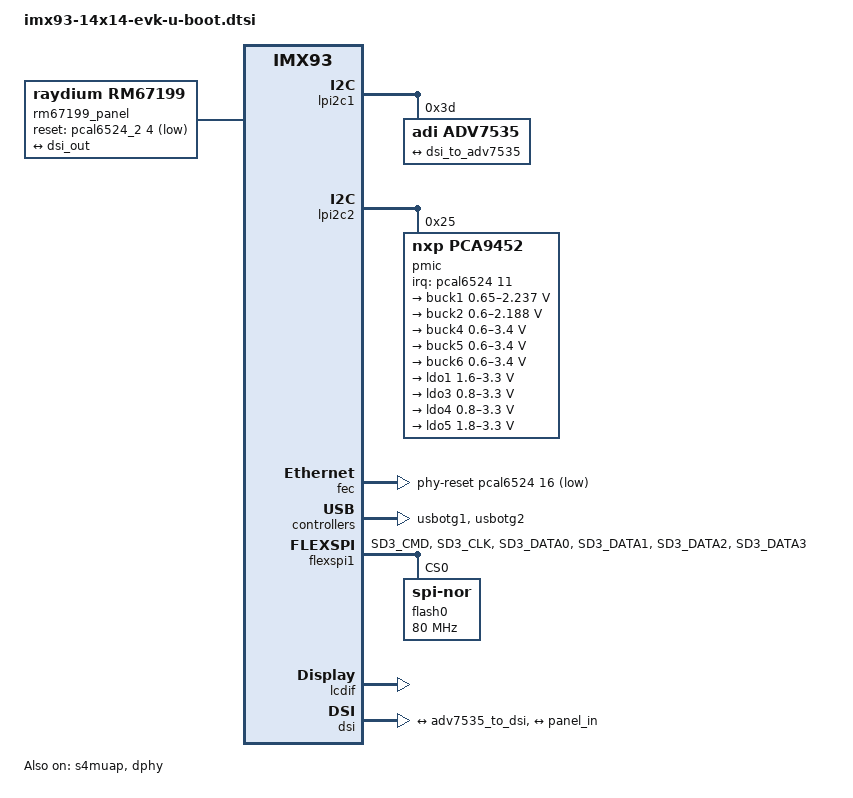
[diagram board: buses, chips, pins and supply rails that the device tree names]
// SPDX-License-Identifier: GPL-2.0+
/*
 * Copyright 2022 NXP
 */

#include "imx93-u-boot.dtsi"

/ {
	wdt-reboot {
		compatible = "wdt-reboot";
		wdt = <&wdog3>;
		bootph-pre-ram;
		bootph-some-ram;
	};

	aliases {
		usb_gadget0 = &usbg1;
	};

	chosen {
		bootargs = "console=ttyLP0,115200";
	};

	usbg1: usbg1 {
		compatible = "fsl,imx27-usb-gadget";
		dr_mode = "peripheral";
		chipidea,usb = <&usbotg1>;
		status = "okay";
	};

	firmware {
		optee {
			compatible = "linaro,optee-tz";
			method = "smc";
		};
	};

	dsi_host: dsi-host {
		compatible = "synopsys,dw-mipi-dsi";
		status = "okay";
	};

	rm67199_panel {
		compatible = "raydium,rm67199";
		reset-gpio = <&pcal6524_2 4 GPIO_ACTIVE_LOW>;
		dsi-lanes = <4>;
		video-mode = <2>;	/* 0: burst mode
					 * 1: non-burst mode with sync event
					 * 2: non-burst mode with sync pulse
					 */
		width-mm = <68>;
		height-mm = <121>;
		status = "okay";

		port {
			panel_in: endpoint {
				remote-endpoint = <&dsi_out>;
			};
		};
	};
};

&A55_0 {
	clocks = <&clk IMX93_CLK_A55_SEL>;
};

&A55_1 {
	clocks = <&clk IMX93_CLK_A55_SEL>;
};

&{/soc@0} {
	bootph-all;
	bootph-pre-ram;
};

&aips1 {
	bootph-pre-ram;
	bootph-all;
};

&aips2 {
	bootph-pre-ram;
	bootph-some-ram;
};

&aips3 {
	bootph-pre-ram;
	bootph-some-ram;
};

&iomuxc {
	bootph-pre-ram;
	bootph-some-ram;

	pinctrl_flexspi: flexspigrp {
		fsl,pins = <
			MX93_PAD_SD3_CMD__FLEXSPI1_A_SS0_B	0x3fe
			MX93_PAD_SD3_CLK__FLEXSPI1_A_SCLK	0x3fe
			MX93_PAD_SD3_DATA0__FLEXSPI1_A_DATA00	0x3fe
			MX93_PAD_SD3_DATA1__FLEXSPI1_A_DATA01	0x3fe
			MX93_PAD_SD3_DATA2__FLEXSPI1_A_DATA02	0x3fe
			MX93_PAD_SD3_DATA3__FLEXSPI1_A_DATA03	0x3fe
		>;
	};
};

&reg_usdhc2_vmmc {
	u-boot,off-on-delay-us = <20000>;
	bootph-pre-ram;
};

&pinctrl_reg_usdhc2_vmmc {
	bootph-pre-ram;
};

&pinctrl_uart1 {
	bootph-pre-ram;
	bootph-some-ram;
};

&pinctrl_usdhc1 {
	bootph-pre-ram;
};

&pinctrl_usdhc2_gpio {
	bootph-pre-ram;
};

&pinctrl_usdhc2 {
	bootph-pre-ram;
};

&gpio1 {
	bootph-pre-ram;
	bootph-some-ram;
};

&gpio2 {
	bootph-pre-ram;
	bootph-some-ram;
};

&gpio3 {
	bootph-pre-ram;
	bootph-some-ram;
};

&gpio4 {
	bootph-pre-ram;
	bootph-some-ram;
};

&lpuart1 {
	bootph-pre-ram;
	bootph-some-ram;
};

&usdhc1 {
	bootph-pre-ram;
};

&usdhc2 {
	bootph-pre-ram;
	fsl,signal-voltage-switch-extra-delay-ms = <8>;
};

&lpi2c1 {
	bootph-pre-ram;

	adv7535: hdmi@3d {
		compatible = "adi,adv7535";
		reg = <0x3d>;
		adi,addr-cec = <0x3c>;
		adi,dsi-lanes = <4>;
		status = "okay";

		port {
			adv7535_to_dsi: endpoint {
				remote-endpoint = <&dsi_to_adv7535>;
			};
		};
	};
};

&lpi2c2 {
	bootph-pre-ram;

	pmic@25 {
		compatible = "nxp,pca9452";
		reg = <0x25>;
		interrupt-parent = <&pcal6524>;
		interrupts = <11 IRQ_TYPE_EDGE_FALLING>;

		regulators {
			buck1: BUCK1 {
				regulator-name = "BUCK1";
				regulator-min-microvolt = <650000>;
				regulator-max-microvolt = <2237500>;
				regulator-boot-on;
				regulator-always-on;
				regulator-ramp-delay = <3125>;
			};

			buck2: BUCK2 {
				regulator-name = "BUCK2";
				regulator-min-microvolt = <600000>;
				regulator-max-microvolt = <2187500>;
				regulator-boot-on;
				regulator-always-on;
				regulator-ramp-delay = <3125>;
			};

			buck4: BUCK4{
				regulator-name = "BUCK4";
				regulator-min-microvolt = <600000>;
				regulator-max-microvolt = <3400000>;
				regulator-boot-on;
				regulator-always-on;
			};

			buck5: BUCK5{
				regulator-name = "BUCK5";
				regulator-min-microvolt = <600000>;
				regulator-max-microvolt = <3400000>;
				regulator-boot-on;
				regulator-always-on;
			};

			buck6: BUCK6 {
				regulator-name = "BUCK6";
				regulator-min-microvolt = <600000>;
				regulator-max-microvolt = <3400000>;
				regulator-boot-on;
				regulator-always-on;
			};

			ldo1: LDO1 {
				regulator-name = "LDO1";
				regulator-min-microvolt = <1600000>;
				regulator-max-microvolt = <3300000>;
				regulator-boot-on;
				regulator-always-on;
			};

			ldo3: LDO3 {
				regulator-name = "LDO3";
				regulator-min-microvolt = <800000>;
				regulator-max-microvolt = <3300000>;
				regulator-boot-on;
				regulator-always-on;
			};

			ldo4: LDO4 {
				regulator-name = "LDO4";
				regulator-min-microvolt = <800000>;
				regulator-max-microvolt = <3300000>;
				regulator-boot-on;
				regulator-always-on;
			};

			ldo5: LDO5 {
				regulator-name = "LDO5";
				regulator-min-microvolt = <1800000>;
				regulator-max-microvolt = <3300000>;
				regulator-boot-on;
				regulator-always-on;
			};
		};
	};
};

&lpi2c3 {
	bootph-pre-ram;
};

&{/soc@0/bus@44000000/i2c@44350000/pmic@25} {
	bootph-pre-ram;
};

&{/soc@0/bus@44000000/i2c@44350000/pmic@25/regulators} {
	bootph-pre-ram;
};

&pinctrl_lpi2c1 {
	bootph-pre-ram;
};

&pinctrl_lpi2c2 {
	bootph-pre-ram;
};

&pinctrl_lpi2c3 {
	bootph-pre-ram;
};

&fec {
	phy-reset-gpios = <&pcal6524 16 GPIO_ACTIVE_LOW>;
	phy-reset-duration = <15>;
	phy-reset-post-delay = <100>;
};

&usbotg1 {
	status = "okay";
};

&usbotg2 {
	status = "okay";
};

&s4muap {
	bootph-pre-ram;
	bootph-some-ram;
	status = "okay";
};

&clk {
	bootph-all;
	bootph-pre-ram;
	/delete-property/ assigned-clocks;
	/delete-property/ assigned-clock-rates;
	/delete-property/ assigned-clock-parents;
};

&osc_32k {
	bootph-all;
	bootph-pre-ram;
};

&osc_24m {
	bootph-all;
	bootph-pre-ram;
};

&clk_ext1 {
	bootph-all;
	bootph-pre-ram;
};

&flexspi1 {
	pinctrl-names = "default";
	pinctrl-0 = <&pinctrl_flexspi>;
	assigned-clock-rates = <80000000>;
	status = "okay";

	flash0: flash@0 {
		reg = <0>;
		#address-cells = <1>;
		#size-cells = <1>;
		compatible = "jedec,spi-nor";
		spi-max-frequency = <80000000>;
		spi-tx-bus-width = <4>;
		spi-rx-bus-width = <4>;
	};
};
&lcdif {
	assigned-clocks = <&clk IMX93_CLK_MEDIA_AXI>, <&clk IMX93_CLK_MEDIA_APB>;
	assigned-clock-parents = <&clk IMX93_CLK_SYS_PLL_PFD1>, <&clk IMX93_CLK_SYS_PLL_PFD1_DIV2>;
	assigned-clock-rates = <400000000>, <133333334>;
	status = "okay";
};

&dphy {
	status = "okay";
};

&dsi {
	status = "okay";

	ports {
		port@1 {
			dsi_to_adv7535: endpoint {
				remote-endpoint = <&adv7535_to_dsi>;
			};
		};

		port@2 {
			dsi_out: endpoint {
				remote-endpoint = <&panel_in>;
			};
		};
	};
};
